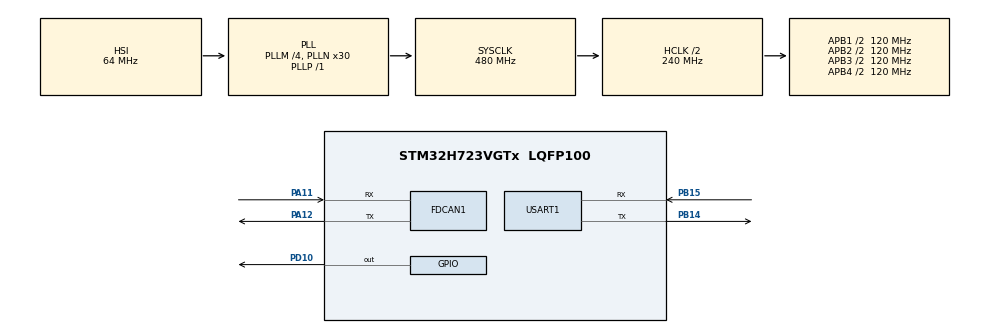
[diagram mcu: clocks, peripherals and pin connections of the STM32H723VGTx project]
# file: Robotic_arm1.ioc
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CORTEX_M7.default_mode_Activation=1
FDCAN1.CalculateBaudRateNominal=1000000
FDCAN1.CalculateTimeBitNominal=1000
FDCAN1.CalculateTimeQuantumNominal=100.0
FDCAN1.DataPrescaler=3
FDCAN1.DataSyncJumpWidth=10
FDCAN1.DataTimeSeg1=29
FDCAN1.DataTimeSeg2=10
FDCAN1.MessageRAMOffset=800
FDCAN1.NominalPrescaler=12
FDCAN1.NominalSyncJumpWidth=3
FDCAN1.NominalTimeSeg1=7
FDCAN1.NominalTimeSeg2=2
FDCAN1.ProtocolException=ENABLE
FDCAN1.RxFifo0ElmtsNbr=2
FDCAN1.StdFiltersNbr=1
FREERTOS.Tasks01=Roboarm_Task,24,128,StartRoboarm_Task,Default,NULL,Dynamic,NULL,NULL
Mcu.Family=STM32H7
Mcu.Name=STM32H723VGTx
Mcu.Package=LQFP100
NVIC.FDCAN1_IT0_IRQn=true\:5\:0\:false\:false\:true\:true\:true\:true\:true
NVIC.PriorityGroup=NVIC_PRIORITYGROUP_4
NVIC.TIM2_IRQn=true\:15\:0\:false\:false\:true\:false\:false\:true\:true
NVIC.TIM3_IRQn=true\:5\:0\:false\:false\:true\:true\:true\:true\:true
NVIC.TimeBase=TIM2_IRQn
NVIC.TimeBaseIP=TIM2
PA11.Mode=FDCAN_Activate
PA11.Signal=FDCAN1_RX
PA12.Mode=FDCAN_Activate
PA12.Signal=FDCAN1_TX
PB14.Mode=Asynchronous
PB14.Signal=USART1_TX
PB15.Mode=Asynchronous
PB15.Signal=USART1_RX
PD10.Signal=GPIO_Output
ProjectManager.HeapSize=0x200
ProjectManager.StackSize=0x400
ProjectManager.TargetToolchain=MDK-ARM V5.32
RCC.ADCFreq_Value=129000000
RCC.APB1Freq_Value=120000000
RCC.APB2Freq_Value=120000000
RCC.APB3Freq_Value=120000000
RCC.APB4Freq_Value=120000000
RCC.CortexFreq_Value=480000000
RCC.D1PPRE=RCC_APB3_DIV2
RCC.D2PPRE1=RCC_APB1_DIV2
RCC.D2PPRE2=RCC_APB2_DIV2
RCC.D3PPRE=RCC_APB4_DIV2
RCC.DIVM1=4
RCC.DIVN1=30
RCC.DIVP1=1
RCC.DIVQ1=4
RCC.HCLKFreq_Value=240000000
RCC.HPRE=RCC_HCLK_DIV2
RCC.SYSCLKFreq_VALUE=480000000
RCC.SYSCLKSource=RCC_SYSCLKSOURCE_PLLCLK
RCC.USBFreq_Value=120000000
TIM3.Channel-Output\ Compare1\ No\ Output=TIM_CHANNEL_1
TIM3.Period=999
TIM3.Prescaler=239
USART1.VirtualMode-Asynchronous=VM_ASYNC
VP_FREERTOS_VS_CMSIS_V2.Mode=CMSIS_V2
VP_MEMORYMAP_VS_MEMORYMAP.Mode=CurAppReg
VP_SYS_VS_tim2.Mode=TIM2
VP_TIM3_VS_no_output1.Mode=Output Compare1 No Output
board=custom

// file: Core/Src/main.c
/* USER CODE BEGIN Header */
/**
  ******************************************************************************
  * @file           : main.c
  * @brief          : Main program body
  ******************************************************************************
  * @attention
  *
  * Copyright (c) 2026 STMicroelectronics.
  * All rights reserved.
  *
  * This software is licensed under terms that can be found in the LICENSE file
  * in the root directory of this software component.
  * If no LICENSE file comes with this software, it is provided AS-IS.
  *
  ******************************************************************************
  */
/* USER CODE END Header */
#include "main.h"
#include "FreeRTOS.h"
#include "cmsis_os2.h"
#include "fdcan.h"
#include "tim.h"
#include "usart.h"
#include "gpio.h"

/* USER CODE BEGIN Includes */
#include "task.h"
#include "M3508.h"
#include "m8010.h"
/* USER CODE END Includes */

/* USER CODE BEGIN PV */
int8_t m3508_flag=0;
int8_t m8010_flag=0;
HAL_StatusTypeDef can_ret1=HAL_ERROR;
FDCAN_TxFrame_TypeDef hfdcan1TxFrame = {
    .hcan = &hfdcan1,
    .Header.IdType = FDCAN_STANDARD_ID,
			.Header.Identifier        = 0x200,
    .Header.TxFrameType = FDCAN_DATA_FRAME,
    .Header.DataLength = 8,
    .Header.ErrorStateIndicator = FDCAN_ESI_ACTIVE,
    .Header.BitRateSwitch = FDCAN_BRS_OFF,
    .Header.FDFormat = FDCAN_CLASSIC_CAN,
    .Header.TxEventFifoControl = FDCAN_NO_TX_EVENTS,
    .Header.MessageMarker = 0,
};
/* USER CODE END PV */

void SystemClock_Config(void);
static void MPU_Config(void);
void MX_FREERTOS_Init(void);

int main(void)
{

  /* MPU Configuration--------------------------------------------------------*/
  MPU_Config();

  /* MCU Configuration--------------------------------------------------------*/

  /* Reset of all peripherals, Initializes the Flash interface and the Systick. */
  HAL_Init();

  /* Configure the system clock */
  SystemClock_Config();

  /* Initialize all configured peripherals */
  MX_GPIO_Init();
  MX_FDCAN1_Init();
  MX_USART1_UART_Init();
  MX_TIM3_Init();

  /* Init scheduler */
  osKernelInitialize();  /* Call init function for freertos objects (in cmsis_os2.c) */
  MX_FREERTOS_Init();

  /* Start scheduler */
  osKernelStart();

  /* We should never get here as control is now taken by the scheduler */

  /* Infinite loop */
  while (1)
  {

  }
}

void SystemClock_Config(void)
{
  RCC_OscInitTypeDef RCC_OscInitStruct = {0};
  RCC_ClkInitTypeDef RCC_ClkInitStruct = {0};

  /** Supply configuration update enable
  */
  HAL_PWREx_ConfigSupply(PWR_LDO_SUPPLY);

  /** Configure the main internal regulator output voltage
  */
  __HAL_PWR_VOLTAGESCALING_CONFIG(PWR_REGULATOR_VOLTAGE_SCALE0);

  while(!__HAL_PWR_GET_FLAG(PWR_FLAG_VOSRDY)) {}

  /** Initializes the RCC Oscillators according to the specified parameters
  * in the RCC_OscInitTypeDef structure.
  */
  RCC_OscInitStruct.OscillatorType = RCC_OSCILLATORTYPE_HSI;
  RCC_OscInitStruct.HSIState = RCC_HSI_DIV1;
  RCC_OscInitStruct.HSICalibrationValue = 64;
  RCC_OscInitStruct.PLL.PLLState = RCC_PLL_ON;
  RCC_OscInitStruct.PLL.PLLSource = RCC_PLLSOURCE_HSI;
  RCC_OscInitStruct.PLL.PLLM = 4;
  RCC_OscInitStruct.PLL.PLLN = 30;
  RCC_OscInitStruct.PLL.PLLP = 1;
  RCC_OscInitStruct.PLL.PLLQ = 4;
  RCC_OscInitStruct.PLL.PLLR = 2;
  RCC_OscInitStruct.PLL.PLLRGE = RCC_PLL1VCIRANGE_3;
  RCC_OscInitStruct.PLL.PLLVCOSEL = RCC_PLL1VCOWIDE;
  RCC_OscInitStruct.PLL.PLLFRACN = 0;
  if (HAL_RCC_OscConfig(&RCC_OscInitStruct) != HAL_OK)
  {
    Error_Handler();
  }

  /** Initializes the CPU, AHB and APB buses clocks
  */
  RCC_ClkInitStruct.ClockType = RCC_CLOCKTYPE_HCLK|RCC_CLOCKTYPE_SYSCLK
                              |RCC_CLOCKTYPE_PCLK1|RCC_CLOCKTYPE_PCLK2
                              |RCC_CLOCKTYPE_D3PCLK1|RCC_CLOCKTYPE_D1PCLK1;
  RCC_ClkInitStruct.SYSCLKSource = RCC_SYSCLKSOURCE_PLLCLK;
  RCC_ClkInitStruct.SYSCLKDivider = RCC_SYSCLK_DIV1;
  RCC_ClkInitStruct.AHBCLKDivider = RCC_HCLK_DIV2;
  RCC_ClkInitStruct.APB3CLKDivider = RCC_APB3_DIV2;
  RCC_ClkInitStruct.APB1CLKDivider = RCC_APB1_DIV2;
  RCC_ClkInitStruct.APB2CLKDivider = RCC_APB2_DIV2;
  RCC_ClkInitStruct.APB4CLKDivider = RCC_APB4_DIV2;

  if (HAL_RCC_ClockConfig(&RCC_ClkInitStruct, FLASH_LATENCY_3) != HAL_OK)
  {
    Error_Handler();
  }
}

 /* MPU Configuration */

void MPU_Config(void)
{
  MPU_Region_InitTypeDef MPU_InitStruct = {0};

  /* Disables the MPU */
  HAL_MPU_Disable();

  /** Initializes and configures the Region and the memory to be protected
  */
  MPU_InitStruct.Enable = MPU_REGION_ENABLE;
  MPU_InitStruct.Number = MPU_REGION_NUMBER0;
  MPU_InitStruct.BaseAddress = 0x0;
  MPU_InitStruct.Size = MPU_REGION_SIZE_4GB;
  MPU_InitStruct.SubRegionDisable = 0x87;
  MPU_InitStruct.TypeExtField = MPU_TEX_LEVEL0;
  MPU_InitStruct.AccessPermission = MPU_REGION_NO_ACCESS;
  MPU_InitStruct.DisableExec = MPU_INSTRUCTION_ACCESS_DISABLE;
  MPU_InitStruct.IsShareable = MPU_ACCESS_SHAREABLE;
  MPU_InitStruct.IsCacheable = MPU_ACCESS_NOT_CACHEABLE;
  MPU_InitStruct.IsBufferable = MPU_ACCESS_NOT_BUFFERABLE;

  HAL_MPU_ConfigRegion(&MPU_InitStruct);
  /* Enables the MPU */
  HAL_MPU_Enable(MPU_PRIVILEGED_DEFAULT);

}

void HAL_TIM_PeriodElapsedCallback(TIM_HandleTypeDef *htim)
{
  /* USER CODE BEGIN Callback 0 */
	 uint32_t status_value;
   status_value = taskENTER_CRITICAL_FROM_ISR();
  /* USER CODE END Callback 0 */
  if (htim->Instance == TIM2)
  {
    HAL_IncTick();
  }
  /* USER CODE BEGIN Callback 1 */
	if (htim->Instance == TIM3)
  {if(m3508_flag==1){

		hfdcan1TxFrame.Data[0]=(m3508[0].output>>8)&0xFF;
		hfdcan1TxFrame.Data[1]=m3508[0].output&0xFF;
		hfdcan1TxFrame.Data[2]=(m3508[1].output>>8)&0xFF;
		hfdcan1TxFrame.Data[3]=m3508[1].output&0xFF;

		can_ret1=HAL_FDCAN_AddMessageToTxFifoQ(&hfdcan1,&hfdcan1TxFrame.Header,hfdcan1TxFrame.Data);

	}
		if(m8010_flag==1){
		m8010_bus_poll(&m8010_bus_1);
		m8010_position_control(&m8010_bus_1.motors[1], Pos[0]*0.0174532925f, kp[0], kd[0]);

		m8010_bus_poll(&m8010_bus_3);
		m8010_position_control(&m8010_bus_3.motors[0], Pos[1]*0.0174532925f,kp[1], kd[1]);
		m8010_position_control(&m8010_bus_3.motors[1], Pos[2]*0.0174532925f, kp[2], kd[2]);

	}
	}
	 taskEXIT_CRITICAL_FROM_ISR(status_value); // 退出临界段
  /* USER CODE END Callback 1 */
}

void Error_Handler(void)
{
  __disable_irq();
  while (1)
  {
  }
}

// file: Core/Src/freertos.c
/* USER CODE BEGIN Header */
/**
  ******************************************************************************
  * File Name          : freertos.c
  * Description        : Code for freertos applications
  ******************************************************************************
  * @attention
  *
  * Copyright (c) 2026 STMicroelectronics.
  * All rights reserved.
  *
  * This software is licensed under terms that can be found in the LICENSE file
  * in the root directory of this software component.
  * If no LICENSE file comes with this software, it is provided AS-IS.
  *
  ******************************************************************************
  */
/* USER CODE END Header */

#include "FreeRTOS.h"
#include "task.h"
#include "main.h"
#include "FreeRTOS.h"
#include "cmsis_os2.h"

/* USER CODE BEGIN Includes */
#include "M3508.h"

/* USER CODE END Includes */

/* Definitions for Roboarm_Task */
osThreadId_t Roboarm_TaskHandle;
const osThreadAttr_t Roboarm_Task_attributes = {
  .name = "Roboarm_Task",
  .stack_size = 128 * 4,
  .priority = (osPriority_t) osPriorityNormal,
};

void StartRoboarm_Task(void *argument);

void MX_FREERTOS_Init(void); /* (MISRA C 2004 rule 8.1) */

void MX_FREERTOS_Init(void) {

  /* Create the thread(s) */
  /* creation of Roboarm_Task */
  Roboarm_TaskHandle = osThreadNew(StartRoboarm_Task, NULL, &Roboarm_Task_attributes);

}

void StartRoboarm_Task(void *argument)
{
  /* USER CODE BEGIN StartRoboarm_Task */

	Can_Start(&hfdcan1);
  /* Infinite loop */
  for(;;)
  {	M3508_Position_Mode(m3508,arm_angle,&arm_speed_P[0]);
		M3508_Position_Mode(&m3508[1],&arm_angle[1],&arm_speed_P[1]);
		arm_speed_S[0]=arm_speed_P[0];
		arm_speed_S[1]=arm_speed_P[1];
		M3508_Speed_Mode(m3508,&arm_speed_S[0]);
		M3508_Speed_Mode(&m3508[1],&arm_speed_S[1]);

    osDelay(1);
  }
  /* USER CODE END StartRoboarm_Task */
}
